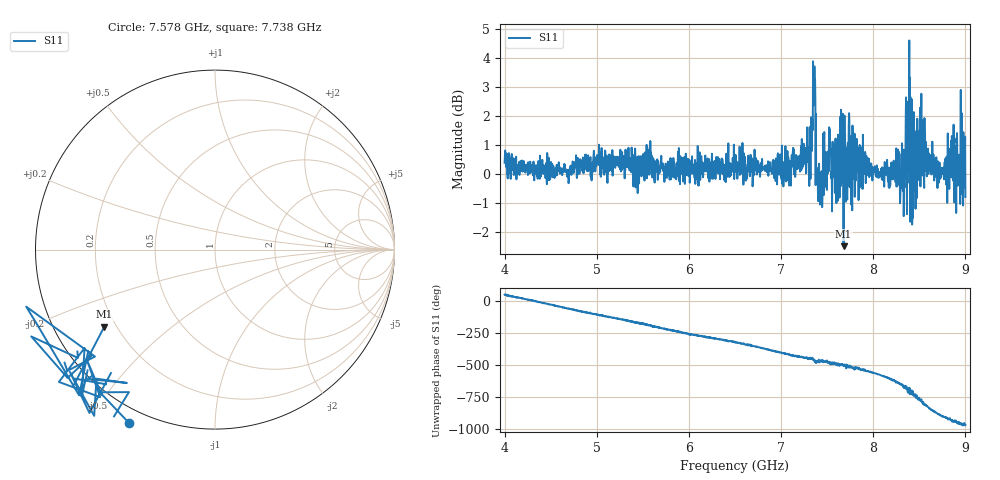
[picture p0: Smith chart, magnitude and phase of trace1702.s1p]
! Created with skrf 1.8.0 (http://scikit-rf.org).
# Hz S RI R 50.0
!freq ReS11 ImS11
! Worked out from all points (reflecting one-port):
!   1601 points, 4 GHz to 9 GHz, reference 50 ohm
!   lowest |S11| = -2.5 dB at 7.678 GHz (marker M1), VSWR 7.02, Z = 7.81 - j15.3 ohm
!   phase of S11 starts at 53 deg and turns -1019 deg over the sweep
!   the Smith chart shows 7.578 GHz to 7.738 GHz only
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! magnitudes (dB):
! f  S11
! 4 GHz  0.4
! 4.625 GHz  0.0
! 5.25 GHz  0.3
! 5.875 GHz  0.4
! 6.5 GHz  0.3
! 7.125 GHz  0.7
! 7.297 GHz  0.9
! 7.319 GHz  -0.2
! 7.347 GHz  3.9
! 7.372 GHz  2.5
! 7.4 GHz  -0.6
! 7.425 GHz  0.0
! 7.512 GHz  0.8
! 7.578 GHz  0.6
! 7.678 GHz  -2.5
! 7.75 GHz  -0.2
! 7.769 GHz  -0.9
! 8.316 GHz  0.3
! 8.331 GHz  -1.5
! 8.347 GHz  0.0
! 8.375 GHz  1.6
! 8.394 GHz  -0.3
! 8.419 GHz  2.6
! 8.447 GHz  1.5
! 8.522 GHz  2.8
! 8.712 GHz  0.2
! 8.972 GHz  0.9
! 9 GHz  -0.8
